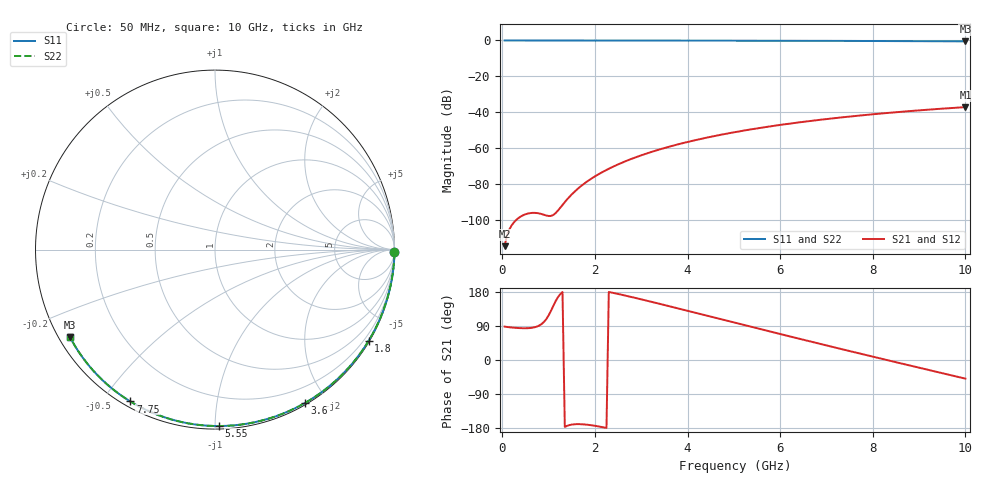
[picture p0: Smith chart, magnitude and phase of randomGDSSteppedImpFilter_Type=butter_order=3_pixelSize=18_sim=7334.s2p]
! freq	dB(S11)	phase(S11)	dB(S12)	phase(S12)
!  dB(S21)	phase(S21)	dB(S22)	phase(S22)
!S-par simulation data
#  GHz  S  DB  R 50
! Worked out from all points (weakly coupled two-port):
!   200 points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, 50 MHz to 10 GHz, reference 50 ohm
!   highest |S21| = -37.22 dB at 10 GHz (marker M1); lowest = -114.9 dB at 50 MHz (marker M2)
!   lowest |S11| = -0.5 dB at 10 GHz (marker M3), VSWR 34.41, Z = 1.57 - j13.9 ohm
!   |S11| at or under -10 dB: nowhere
!   |S22| runs from -0.5 to 0.0 dB; largest |S21 - S12| = 0
!   S11 on the Smith chart (normalised r, x): 50 MHz: open; 1.8 GHz: 0.03, -3.66; 3.6 GHz: 0.02, -1.74; 5.55 GHz: 0.02, -1.02; 7.75 GHz: 0.02, -0.59; 10 GHz: 0.03, -0.28
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0.05  -0.00 -0.9  -114.88 88.3  -114.88 88.3  -0.00 -0.9
0.45  -0.01 -7.8  -97.60 83.8  -97.60 83.8  -0.01 -7.8
0.9  -0.02 -15.5  -97.35 100.5  -97.35 100.5  -0.02 -15.5
1.3  -0.03 -22.2  -91.82 179.2  -91.82 179.2  -0.03 -22.2
1.75  -0.04 -29.8  -80.31 -169.8  -80.31 -169.8  -0.04 -29.8
1.8  -0.04 -30.6  -79.34 -170.4  -79.34 -170.4  -0.04 -30.6
1.95  -0.04 -33.1  -76.71 -172.7  -76.71 -172.7  -0.04 -33.1
2.1  -0.05 -35.6  -74.39 -175.7  -74.39 -175.7  -0.05 -35.6
2.3  -0.05 -38.9  -71.64 179.6  -71.64 179.6  -0.05 -38.9
2.5  -0.05 -42.1  -69.22 174.3  -69.22 174.3  -0.05 -42.1
2.9  -0.06 -48.6  -65.07 163.0  -65.07 163.0  -0.06 -48.6
3.4  -0.08 -56.5  -60.82 148.2  -60.82 148.2  -0.08 -56.5
3.6  -0.08 -59.6  -59.35 142.1  -59.35 142.1  -0.08 -59.6
4.3  -0.10 -70.4  -54.91 120.7  -54.91 120.7  -0.10 -70.4
5.05  -0.13 -81.6  -51.07 97.6  -51.07 97.6  -0.13 -81.6
5.55  -0.15 -88.8  -48.91 82.3  -48.91 82.3  -0.15 -88.8
6.1  -0.17 -96.6  -46.81 65.5  -46.81 65.5  -0.17 -96.6
6.7  -0.20 -104.9  -44.80 47.4  -44.80 47.4  -0.20 -104.9
7.75  -0.28 -119.1  -41.84 16.2  -41.84 16.2  -0.28 -119.1
8.35  -0.33 -127.1  -40.41 -1.4  -40.41 -1.4  -0.33 -127.1
9.2  -0.41 -138.3  -38.64 -26.1  -38.64 -26.1  -0.41 -138.3
10  -0.50 -148.9  -37.22 -49.2  -37.22 -49.2  -0.50 -148.9
